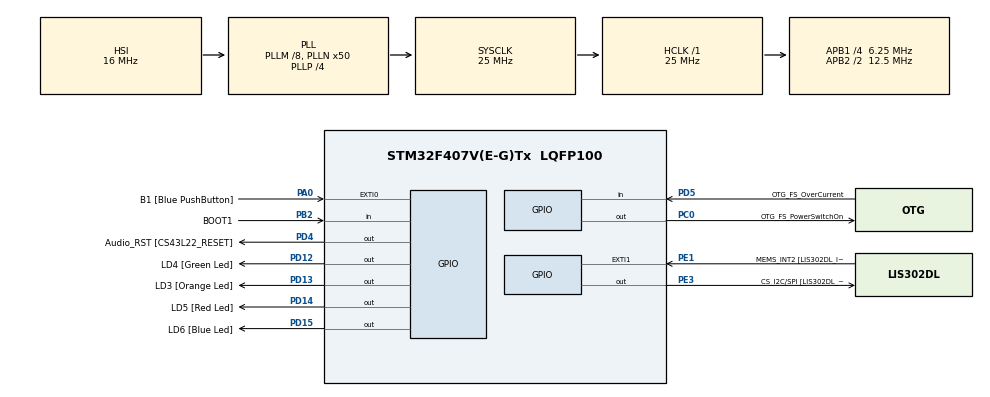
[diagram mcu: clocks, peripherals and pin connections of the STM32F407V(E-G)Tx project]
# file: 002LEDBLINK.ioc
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Mcu.Family=STM32F4
Mcu.Name=STM32F407V(E-G)Tx
Mcu.Package=LQFP100
NVIC.PriorityGroup=NVIC_PRIORITYGROUP_4
NVIC.TIM6_DAC_IRQn=true\:15\:0\:false\:false\:true\:false\:true\:true
NVIC.TimeBase=TIM6_DAC_IRQn
NVIC.TimeBaseIP=TIM6
PA0-WKUP.GPIO_Label=B1 [Blue PushButton]
PA0-WKUP.Signal=GPXTI0
PA10.GPIO_Label=OTG_FS_ID
PA10.GPIO_Mode=GPIO_MODE_AF_PP
PA10.GPIO_PuPd=GPIO_NOPULL
PA10.GPIO_Speed=GPIO_SPEED_FREQ_LOW
PA10.Signal=USB_OTG_FS_ID
PA11.GPIO_Label=OTG_FS_DM
PA11.GPIO_Mode=GPIO_MODE_AF_PP
PA11.GPIO_PuPd=GPIO_NOPULL
PA11.GPIO_Speed=GPIO_SPEED_FREQ_LOW
PA11.Signal=USB_OTG_FS_DM
PA12.GPIO_Label=OTG_FS_DP
PA12.GPIO_Mode=GPIO_MODE_AF_PP
PA12.GPIO_PuPd=GPIO_NOPULL
PA12.GPIO_Speed=GPIO_SPEED_FREQ_LOW
PA12.Signal=USB_OTG_FS_DP
PA13.GPIO_Label=SWDIO
PA13.Signal=SYS_JTMS-SWDIO
PA14.GPIO_Label=SWCLK
PA14.Signal=SYS_JTCK-SWCLK
PA4.GPIO_Label=I2S3_WS [CS43L22_LRCK]
PA4.GPIO_Mode=GPIO_MODE_AF_PP
PA4.GPIO_PuPd=GPIO_NOPULL
PA4.GPIO_Speed=GPIO_SPEED_FREQ_LOW
PA4.Signal=I2S3_WS
PA5.GPIO_Label=SPI1_SCK [LIS302DL_SCL/SPC]
PA5.GPIO_Mode=GPIO_MODE_AF_PP
PA5.GPIO_PuPd=GPIO_NOPULL
PA5.GPIO_Speed=GPIO_SPEED_FREQ_LOW
PA5.Signal=SPI1_SCK
PA6.GPIO_Label=SPI1_MISO [LIS302DL_SDO]
PA6.GPIO_Mode=GPIO_MODE_AF_PP
PA6.GPIO_PuPd=GPIO_NOPULL
PA6.GPIO_Speed=GPIO_SPEED_FREQ_LOW
PA6.Signal=SPI1_MISO
PA7.GPIO_Label=SPI1_MOSI [LIS302DL_SDA/SDI/SDO]
PA7.GPIO_Mode=GPIO_MODE_AF_PP
PA7.GPIO_PuPd=GPIO_NOPULL
PA7.GPIO_Speed=GPIO_SPEED_FREQ_LOW
PA7.Signal=SPI1_MOSI
PA9.GPIO_Label=VBUS_FS
PA9.GPIO_Mode=GPIO_MODE_INPUT
PA9.GPIO_PuPd=GPIO_NOPULL
PA9.Signal=USB_OTG_FS_VBUS
PB10.GPIO_Label=CLK_IN [MP45DT02_CLK]
PB10.GPIO_Mode=GPIO_MODE_AF_PP
PB10.GPIO_PuPd=GPIO_NOPULL
PB10.GPIO_Speed=GPIO_SPEED_FREQ_LOW
PB10.Signal=I2S2_CK
PB2.GPIO_Label=BOOT1
PB2.GPIO_Mode=GPIO_MODE_INPUT
PB2.GPIO_PuPd=GPIO_NOPULL
PB2.Signal=GPIO_Input
PB3.GPIO_Label=SWO
PB3.Signal=SYS_JTDO-SWO
PB6.GPIO_Label=Audio_SCL [CS43L22_SCL]
PB6.GPIO_Mode=GPIO_MODE_AF_OD
PB6.GPIO_PuPd=GPIO_NOPULL
PB6.GPIO_Speed=GPIO_SPEED_FREQ_LOW
PB6.Signal=I2C1_SCL
PB9.GPIO_Label=Audio_SDA [CS43L22_SDA]
PB9.GPIO_Mode=GPIO_MODE_AF_OD
PB9.GPIO_PuPd=GPIO_NOPULL
PB9.GPIO_Speed=GPIO_SPEED_FREQ_LOW
PB9.Signal=I2C1_SDA
PC0.GPIO_Label=OTG_FS_PowerSwitchOn
PC0.GPIO_PuPd=GPIO_NOPULL
PC0.GPIO_Speed=GPIO_SPEED_FREQ_LOW
PC0.PinState=GPIO_PIN_SET
PC0.Signal=GPIO_Output
PC10.GPIO_Label=I2S3_SCK [CS43L22_SCLK]
PC10.GPIO_Mode=GPIO_MODE_AF_PP
PC10.GPIO_PuPd=GPIO_NOPULL
PC10.GPIO_Speed=GPIO_SPEED_FREQ_LOW
PC10.Signal=I2S3_CK
PC12.GPIO_Label=I2S3_SD [CS43L22_SDIN]
PC12.GPIO_Mode=GPIO_MODE_AF_PP
PC12.GPIO_PuPd=GPIO_NOPULL
PC12.GPIO_Speed=GPIO_SPEED_FREQ_LOW
PC12.Signal=I2S3_SD
PC14-OSC32_IN.GPIO_Label=PC14-OSC32_IN
PC14-OSC32_IN.Signal=RCC_OSC32_IN
PC15-OSC32_OUT.GPIO_Label=PC15-OSC32_OUT
PC15-OSC32_OUT.Signal=RCC_OSC32_OUT
PC3.GPIO_Label=PDM_OUT [MP45DT02_DOUT]
PC3.GPIO_Mode=GPIO_MODE_AF_PP
PC3.GPIO_PuPd=GPIO_NOPULL
PC3.GPIO_Speed=GPIO_SPEED_FREQ_LOW
PC3.Signal=I2S2_SD
PC7.GPIO_Label=I2S3_MCK [CS43L22_MCLK]
PC7.GPIO_Mode=GPIO_MODE_AF_PP
PC7.GPIO_PuPd=GPIO_NOPULL
PC7.GPIO_Speed=GPIO_SPEED_FREQ_LOW
PC7.Signal=I2S3_MCK
PD12.GPIO_Label=LD4 [Green Led]
PD12.GPIO_PuPd=GPIO_NOPULL
PD12.GPIO_Speed=GPIO_SPEED_FREQ_LOW
PD12.Signal=GPIO_Output
PD13.GPIO_Label=LD3 [Orange Led]
PD13.GPIO_PuPd=GPIO_NOPULL
PD13.GPIO_Speed=GPIO_SPEED_FREQ_LOW
PD13.Signal=GPIO_Output
PD14.GPIO_Label=LD5 [Red Led]
PD14.GPIO_PuPd=GPIO_NOPULL
PD14.GPIO_Speed=GPIO_SPEED_FREQ_LOW
PD14.Signal=GPIO_Output
PD15.GPIO_Label=LD6 [Blue Led]
PD15.GPIO_PuPd=GPIO_NOPULL
PD15.GPIO_Speed=GPIO_SPEED_FREQ_LOW
PD15.Signal=GPIO_Output
PD4.GPIO_Label=Audio_RST [CS43L22_RESET]
PD4.GPIO_PuPd=GPIO_NOPULL
PD4.GPIO_Speed=GPIO_SPEED_FREQ_LOW
PD4.Signal=GPIO_Output
PD5.GPIO_Label=OTG_FS_OverCurrent
PD5.GPIO_Mode=GPIO_MODE_INPUT
PD5.GPIO_PuPd=GPIO_NOPULL
PD5.Signal=GPIO_Input
PE1.GPIO_Label=MEMS_INT2 [LIS302DL_INT2]
PE1.GPIO_ModeDefaultEXTI=GPIO_MODE_EVT_RISING
PE1.GPIO_PuPd=GPIO_NOPULL
PE1.Signal=GPXTI1
PE3.GPIO_Label=CS_I2C/SPI [LIS302DL_CS_I2C/SPI]
PE3.GPIO_PuPd=GPIO_NOPULL
PE3.GPIO_Speed=GPIO_SPEED_FREQ_LOW
PE3.Signal=GPIO_Output
PH0-OSC_IN.GPIO_Label=PH0-OSC_IN
PH0-OSC_IN.Signal=RCC_OSC_IN
PH1-OSC_OUT.GPIO_Label=PH1-OSC_OUT
PH1-OSC_OUT.Signal=RCC_OSC_OUT
ProjectManager.HeapSize=0x200
ProjectManager.StackSize=0x400
ProjectManager.TargetToolchain=STM32CubeIDE
RCC.48MHZClocksFreq_Value=14285714.285714285
RCC.AHBFreq_Value=25000000
RCC.APB1CLKDivider=RCC_HCLK_DIV4
RCC.APB1Freq_Value=6250000
RCC.APB1TimFreq_Value=12500000
RCC.APB2CLKDivider=RCC_HCLK_DIV2
RCC.APB2Freq_Value=12500000
RCC.APB2TimFreq_Value=25000000
RCC.CortexFreq_Value=25000000
RCC.HCLKFreq_Value=25000000
RCC.HSE_VALUE=8000000
RCC.HSI_VALUE=16000000
RCC.LSE_VALUE=32768
RCC.PLLM=8
RCC.PLLN=50
RCC.PLLP=RCC_PLLP_DIV4
RCC.PLLQ=7
RCC.SYSCLKFreq_VALUE=25000000
RCC.SYSCLKSource=RCC_SYSCLKSOURCE_PLLCLK
RCC.VCOOutputFreq_Value=100000000
VP_SYS_VS_tim6.Mode=TIM6
board=STM32F407G-DISC1

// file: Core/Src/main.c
/* USER CODE BEGIN Header */
/**
  ******************************************************************************
  * @file           : main.c
  * @brief          : Main program body
  ******************************************************************************
  * @attention
  *
  * Copyright (c) 2025 STMicroelectronics.
  * All rights reserved.
  *
  * This software is licensed under terms that can be found in the LICENSE file
  * in the root directory of this software component.
  * If no LICENSE file comes with this software, it is provided AS-IS.
  *
  ******************************************************************************
  */
/* USER CODE END Header */
#include "main.h"

/* USER CODE BEGIN Includes */
#include<stdio.h>
#include<stdint.h>
#include"FreeRTOS.h"
#include"task.h"

/* USER CODE END Includes */

/* USER CODE BEGIN PM */
#define DWT_CTRL (*(volatile uint32_t*)0xE0001000)

/* USER CODE END PM */

void SystemClock_Config(void);
static void MX_GPIO_Init(void);
/* USER CODE BEGIN PFP */
static void GREEN_LED_HANDLER(void* parameters);
static void RED_LED_HANDLER(void* parameters);
static void BLUE_LED_HANDLER(void* parameters);

/* USER CODE END PFP */

/* USER CODE BEGIN 0 */
TaskHandle_t GREEN_LED;
TaskHandle_t RED_LED;
TaskHandle_t BLUE_LED;
BaseType_t status;
/* USER CODE END 0 */

int main(void)
{

  /* MCU Configuration--------------------------------------------------------*/

  /* Reset of all peripherals, Initializes the Flash interface and the Systick. */
  HAL_Init();

  /* Configure the system clock */
  SystemClock_Config();

  /* Initialize all configured peripherals */
  MX_GPIO_Init();
  /* USER CODE BEGIN 2 */
  DWT_CTRL |=(0<<1);
    SEGGER_SYSVIEW_Conf();
    SEGGER_SYSVIEW_Start();

    status=xTaskCreate(
    		RED_LED_HANDLER,
			"RED_LED_BLINK",
			200,
			NULL,
			2,
			&RED_LED

    		);
    configASSERT(status==pdPASS);
    status=xTaskCreate(
        		BLUE_LED_HANDLER,
    			"BLUE_LED_BLINK",
    			200,
    			NULL,
    			2,
    			&BLUE_LED

        		);
        configASSERT(status==pdPASS);

        status=xTaskCreate(
               		GREEN_LED_HANDLER,
           			"GREEN_LED_BLINK",
           			200,
           			NULL,
           			2,
           			&GREEN_LED

               		);
               configASSERT(status==pdPASS);
               vTaskStartScheduler();

  /* USER CODE END 2 */

  /* Infinite loop */
  while (1)
  {

  }
}

void SystemClock_Config(void)
{
  RCC_OscInitTypeDef RCC_OscInitStruct = {0};
  RCC_ClkInitTypeDef RCC_ClkInitStruct = {0};

  /** Configure the main internal regulator output voltage
  */
  __HAL_RCC_PWR_CLK_ENABLE();
  __HAL_PWR_VOLTAGESCALING_CONFIG(PWR_REGULATOR_VOLTAGE_SCALE1);

  /** Initializes the RCC Oscillators according to the specified parameters
  * in the RCC_OscInitTypeDef structure.
  */
  RCC_OscInitStruct.OscillatorType = RCC_OSCILLATORTYPE_HSI;
  RCC_OscInitStruct.HSIState = RCC_HSI_ON;
  RCC_OscInitStruct.HSICalibrationValue = RCC_HSICALIBRATION_DEFAULT;
  RCC_OscInitStruct.PLL.PLLState = RCC_PLL_ON;
  RCC_OscInitStruct.PLL.PLLSource = RCC_PLLSOURCE_HSI;
  RCC_OscInitStruct.PLL.PLLM = 8;
  RCC_OscInitStruct.PLL.PLLN = 50;
  RCC_OscInitStruct.PLL.PLLP = RCC_PLLP_DIV4;
  RCC_OscInitStruct.PLL.PLLQ = 7;
  if (HAL_RCC_OscConfig(&RCC_OscInitStruct) != HAL_OK)
  {
    Error_Handler();
  }

  /** Initializes the CPU, AHB and APB buses clocks
  */
  RCC_ClkInitStruct.ClockType = RCC_CLOCKTYPE_HCLK|RCC_CLOCKTYPE_SYSCLK
                              |RCC_CLOCKTYPE_PCLK1|RCC_CLOCKTYPE_PCLK2;
  RCC_ClkInitStruct.SYSCLKSource = RCC_SYSCLKSOURCE_PLLCLK;
  RCC_ClkInitStruct.AHBCLKDivider = RCC_SYSCLK_DIV1;
  RCC_ClkInitStruct.APB1CLKDivider = RCC_HCLK_DIV4;
  RCC_ClkInitStruct.APB2CLKDivider = RCC_HCLK_DIV2;

  if (HAL_RCC_ClockConfig(&RCC_ClkInitStruct, FLASH_LATENCY_0) != HAL_OK)
  {
    Error_Handler();
  }
}

static void MX_GPIO_Init(void)
{
  GPIO_InitTypeDef GPIO_InitStruct = {0};

  /* GPIO Ports Clock Enable */
  __HAL_RCC_GPIOE_CLK_ENABLE();
  __HAL_RCC_GPIOC_CLK_ENABLE();
  __HAL_RCC_GPIOH_CLK_ENABLE();
  __HAL_RCC_GPIOA_CLK_ENABLE();
  __HAL_RCC_GPIOB_CLK_ENABLE();
  __HAL_RCC_GPIOD_CLK_ENABLE();

  /*Configure GPIO pin Output Level */
  HAL_GPIO_WritePin(CS_I2C_SPI_GPIO_Port, CS_I2C_SPI_Pin, GPIO_PIN_RESET);

  /*Configure GPIO pin Output Level */
  HAL_GPIO_WritePin(OTG_FS_PowerSwitchOn_GPIO_Port, OTG_FS_PowerSwitchOn_Pin, GPIO_PIN_SET);

  /*Configure GPIO pin Output Level */
  HAL_GPIO_WritePin(GPIOD, LD4_Pin|LD3_Pin|LD5_Pin|LD6_Pin
                          |Audio_RST_Pin, GPIO_PIN_RESET);

  /*Configure GPIO pin : CS_I2C_SPI_Pin */
  GPIO_InitStruct.Pin = CS_I2C_SPI_Pin;
  GPIO_InitStruct.Mode = GPIO_MODE_OUTPUT_PP;
  GPIO_InitStruct.Pull = GPIO_NOPULL;
  GPIO_InitStruct.Speed = GPIO_SPEED_FREQ_LOW;
  HAL_GPIO_Init(CS_I2C_SPI_GPIO_Port, &GPIO_InitStruct);

  /*Configure GPIO pin : OTG_FS_PowerSwitchOn_Pin */
  GPIO_InitStruct.Pin = OTG_FS_PowerSwitchOn_Pin;
  GPIO_InitStruct.Mode = GPIO_MODE_OUTPUT_PP;
  GPIO_InitStruct.Pull = GPIO_NOPULL;
  GPIO_InitStruct.Speed = GPIO_SPEED_FREQ_LOW;
  HAL_GPIO_Init(OTG_FS_PowerSwitchOn_GPIO_Port, &GPIO_InitStruct);

  /*Configure GPIO pin : PDM_OUT_Pin */
  GPIO_InitStruct.Pin = PDM_OUT_Pin;
  GPIO_InitStruct.Mode = GPIO_MODE_AF_PP;
  GPIO_InitStruct.Pull = GPIO_NOPULL;
  GPIO_InitStruct.Speed = GPIO_SPEED_FREQ_LOW;
  GPIO_InitStruct.Alternate = GPIO_AF5_SPI2;
  HAL_GPIO_Init(PDM_OUT_GPIO_Port, &GPIO_InitStruct);

  /*Configure GPIO pin : B1_Pin */
  GPIO_InitStruct.Pin = B1_Pin;
  GPIO_InitStruct.Mode = GPIO_MODE_IT_RISING;
  GPIO_InitStruct.Pull = GPIO_NOPULL;
  HAL_GPIO_Init(B1_GPIO_Port, &GPIO_InitStruct);

  /*Configure GPIO pin : I2S3_WS_Pin */
  GPIO_InitStruct.Pin = I2S3_WS_Pin;
  GPIO_InitStruct.Mode = GPIO_MODE_AF_PP;
  GPIO_InitStruct.Pull = GPIO_NOPULL;
  GPIO_InitStruct.Speed = GPIO_SPEED_FREQ_LOW;
  GPIO_InitStruct.Alternate = GPIO_AF6_SPI3;
  HAL_GPIO_Init(I2S3_WS_GPIO_Port, &GPIO_InitStruct);

  /*Configure GPIO pins : SPI1_SCK_Pin SPI1_MISO_Pin SPI1_MOSI_Pin */
  GPIO_InitStruct.Pin = SPI1_SCK_Pin|SPI1_MISO_Pin|SPI1_MOSI_Pin;
  GPIO_InitStruct.Mode = GPIO_MODE_AF_PP;
  GPIO_InitStruct.Pull = GPIO_NOPULL;
  GPIO_InitStruct.Speed = GPIO_SPEED_FREQ_LOW;
  GPIO_InitStruct.Alternate = GPIO_AF5_SPI1;
  HAL_GPIO_Init(GPIOA, &GPIO_InitStruct);

  /*Configure GPIO pin : BOOT1_Pin */
  GPIO_InitStruct.Pin = BOOT1_Pin;
  GPIO_InitStruct.Mode = GPIO_MODE_INPUT;
  GPIO_InitStruct.Pull = GPIO_NOPULL;
  HAL_GPIO_Init(BOOT1_GPIO_Port, &GPIO_InitStruct);

  /*Configure GPIO pin : CLK_IN_Pin */
  GPIO_InitStruct.Pin = CLK_IN_Pin;
  GPIO_InitStruct.Mode = GPIO_MODE_AF_PP;
  GPIO_InitStruct.Pull = GPIO_NOPULL;
  GPIO_InitStruct.Speed = GPIO_SPEED_FREQ_LOW;
  GPIO_InitStruct.Alternate = GPIO_AF5_SPI2;
  HAL_GPIO_Init(CLK_IN_GPIO_Port, &GPIO_InitStruct);

  /*Configure GPIO pins : LD4_Pin LD3_Pin LD5_Pin LD6_Pin
                           Audio_RST_Pin */
  GPIO_InitStruct.Pin = LD4_Pin|LD3_Pin|LD5_Pin|LD6_Pin
                          |Audio_RST_Pin;
  GPIO_InitStruct.Mode = GPIO_MODE_OUTPUT_PP;
  GPIO_InitStruct.Pull = GPIO_NOPULL;
  GPIO_InitStruct.Speed = GPIO_SPEED_FREQ_LOW;
  HAL_GPIO_Init(GPIOD, &GPIO_InitStruct);

  /*Configure GPIO pins : I2S3_MCK_Pin I2S3_SCK_Pin I2S3_SD_Pin */
  GPIO_InitStruct.Pin = I2S3_MCK_Pin|I2S3_SCK_Pin|I2S3_SD_Pin;
  GPIO_InitStruct.Mode = GPIO_MODE_AF_PP;
  GPIO_InitStruct.Pull = GPIO_NOPULL;
  GPIO_InitStruct.Speed = GPIO_SPEED_FREQ_LOW;
  GPIO_InitStruct.Alternate = GPIO_AF6_SPI3;
  HAL_GPIO_Init(GPIOC, &GPIO_InitStruct);

  /*Configure GPIO pin : VBUS_FS_Pin */
  GPIO_InitStruct.Pin = VBUS_FS_Pin;
  GPIO_InitStruct.Mode = GPIO_MODE_INPUT;
  GPIO_InitStruct.Pull = GPIO_NOPULL;
  HAL_GPIO_Init(VBUS_FS_GPIO_Port, &GPIO_InitStruct);

  /*Configure GPIO pins : OTG_FS_ID_Pin OTG_FS_DM_Pin OTG_FS_DP_Pin */
  GPIO_InitStruct.Pin = OTG_FS_ID_Pin|OTG_FS_DM_Pin|OTG_FS_DP_Pin;
  GPIO_InitStruct.Mode = GPIO_MODE_AF_PP;
  GPIO_InitStruct.Pull = GPIO_NOPULL;
  GPIO_InitStruct.Speed = GPIO_SPEED_FREQ_LOW;
  GPIO_InitStruct.Alternate = GPIO_AF10_OTG_FS;
  HAL_GPIO_Init(GPIOA, &GPIO_InitStruct);

  /*Configure GPIO pin : OTG_FS_OverCurrent_Pin */
  GPIO_InitStruct.Pin = OTG_FS_OverCurrent_Pin;
  GPIO_InitStruct.Mode = GPIO_MODE_INPUT;
  GPIO_InitStruct.Pull = GPIO_NOPULL;
  HAL_GPIO_Init(OTG_FS_OverCurrent_GPIO_Port, &GPIO_InitStruct);

  /*Configure GPIO pins : Audio_SCL_Pin Audio_SDA_Pin */
  GPIO_InitStruct.Pin = Audio_SCL_Pin|Audio_SDA_Pin;
  GPIO_InitStruct.Mode = GPIO_MODE_AF_OD;
  GPIO_InitStruct.Pull = GPIO_NOPULL;
  GPIO_InitStruct.Speed = GPIO_SPEED_FREQ_LOW;
  GPIO_InitStruct.Alternate = GPIO_AF4_I2C1;
  HAL_GPIO_Init(GPIOB, &GPIO_InitStruct);

  /*Configure GPIO pin : MEMS_INT2_Pin */
  GPIO_InitStruct.Pin = MEMS_INT2_Pin;
  GPIO_InitStruct.Mode = GPIO_MODE_EVT_RISING;
  GPIO_InitStruct.Pull = GPIO_NOPULL;
  HAL_GPIO_Init(MEMS_INT2_GPIO_Port, &GPIO_InitStruct);

}

/* USER CODE BEGIN 4 */
static void GREEN_LED_HANDLER(void* parameters){
	while(1){
		  SEGGER_SYSVIEW_PrintfTarget("HARI LED TOGGLE");
        HAL_GPIO_TogglePin(GPIOD,GREEN_LED_PIN);
        vTaskDelay(pdMS_TO_TICKS(1000));

	}

}
static void RED_LED_HANDLER(void* parameters){
	while(1){
		SEGGER_SYSVIEW_PrintfTarget("LAAL LED TOGGLE");
		HAL_GPIO_TogglePin(GPIOD,RED_LED_PIN);
		vTaskDelay(pdMS_TO_TICKS(600));

		}

}
static void BLUE_LED_HANDLER(void* parameters){

	while(1){
		SEGGER_SYSVIEW_PrintfTarget("BLUE LED TOGGLE");
		HAL_GPIO_TogglePin(GPIOD,BLUE_LED_PIN);
		vTaskDelay(pdMS_TO_TICKS(400));

		}

}

/* USER CODE END 4 */

void HAL_TIM_PeriodElapsedCallback(TIM_HandleTypeDef *htim)
{
  if (htim->Instance == TIM6) {
    HAL_IncTick();
  }
}

void Error_Handler(void)
{
  __disable_irq();
  while (1)
  {
  }
}
